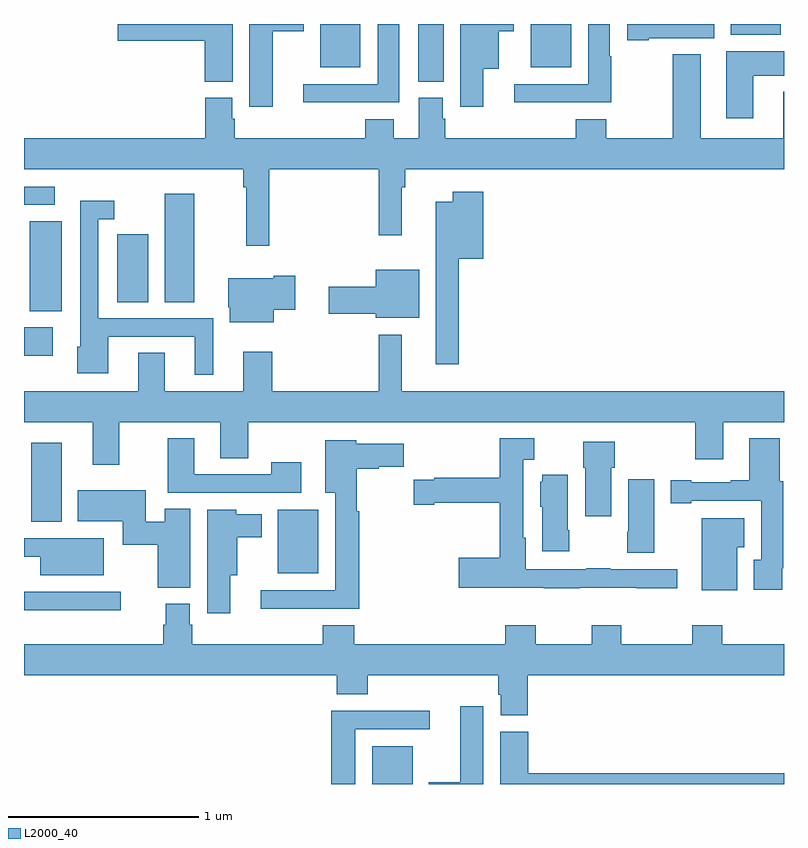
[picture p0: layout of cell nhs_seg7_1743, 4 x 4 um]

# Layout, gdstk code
import gdstk
lib = gdstk.Library(unit=1e-6, precision=1e-09)
def R(c, l, rs):  # rectangles x0, y0, x1, y1
    for r in rs: c.add(gdstk.rectangle(r[:2], r[2:], *l))
def P(c, l, *ps):  # polygons
    for p in ps: c.add(gdstk.Polygon(p, *l))
L2000_40 = (2000, 40)

nhs_seg7_1743 = lib.new_cell('nhs_seg7_1743')
R(nhs_seg7_1743, L2000_40, [(230.834,1044,231.046,1044.199), (229,1044.914,229.51,1045.011), (230.336,1045.109,230.548,1045.444), (229.037,1045.379,229.198,1045.795), (229,1046.255,229.15,1046.404), (229.031,1046.489,229.198,1046.963), (229.49,1046.536,229.654,1046.893), (229.742,1046.536,229.897,1047.106), (229,1047.048,229.162,1047.144), (231.074,1047.697,231.208,1048), (230.558,1047.773,230.77,1048), (231.668,1047.773,231.88,1048), (232.721,1047.944,232.984,1048)])
P(nhs_seg7_1743, L2000_40, [(230.974,1048),(230.861,1048),(230.861,1047.684),(230.469,1047.684),(230.469,1047.587),(230.974,1047.587)],
  [(231.418,1047.764),(231.499,1047.764),(231.499,1047.962),(231.577,1047.962),(231.577,1048),(231.296,1048),(231.296,1047.564),(231.418,1047.564)],
  [(232.288,1047.926),(232.633,1047.926),(232.633,1048),(232.176,1048),(232.176,1047.914),(232.288,1047.914)],
  [(232.092,1047.83),(232.084,1047.83),(232.084,1048),(231.971,1048),(231.971,1047.684),(231.579,1047.684),(231.579,1047.587),(232.092,1047.587)],
  [(230.098,1048),(229.494,1048),(229.494,1047.911),(229.952,1047.911),(229.952,1047.697),(230.098,1047.697)],
  [(230.308,1047.962),(230.473,1047.962),(230.473,1048),(230.186,1048),(230.186,1047.564),(230.308,1047.564)],
  [(232.837,1047.728),(233,1047.728),(233,1047.856),(232.697,1047.856),(232.697,1047.504),(232.837,1047.504)],
  [(230.291,1047.236),(230.868,1047.236),(230.868,1046.889),(230.989,1046.889),(230.989,1047.14),(231.007,1047.14),(231.007,1047.236),(233,1047.236),(233,1047.643),(232.997,1047.643),(232.997,1047.4),(232.561,1047.4),(232.561,1047.841),(232.414,1047.841),(232.414,1047.4),(232.065,1047.4),(232.065,1047.499),(231.905,1047.499),(231.905,1047.4),(231.218,1047.4),(231.218,1047.501),(231.205,1047.501),(231.205,1047.612),(231.077,1047.612),(231.077,1047.4),(230.947,1047.4),(230.947,1047.499),(230.795,1047.499),(230.795,1047.4),(230.108,1047.4),(230.108,1047.501),(230.095,1047.501),(230.095,1047.612),(229.955,1047.612),(229.955,1047.4),(229,1047.4),(229,1047.236),(230.155,1047.236),(230.155,1047.14),(230.17,1047.14),(230.17,1046.832),(230.291,1046.832)],
  [(231.289,1046.765),(231.418,1046.765),(231.418,1047.118),(231.257,1047.118),(231.257,1047.064),(231.167,1047.064),(231.167,1046.208),(231.289,1046.208)],
  [(229.996,1046.451),(229.392,1046.451),(229.392,1046.973),(229.474,1046.973),(229.474,1047.07),(229.296,1047.07),(229.296,1046.301),(229.28,1046.301),(229.28,1046.162),(229.444,1046.162),(229.444,1046.355),(229.898,1046.355),(229.898,1046.154),(229.996,1046.154)],
  [(231.079,1046.707),(230.852,1046.707),(230.852,1046.618),(230.604,1046.618),(230.604,1046.476),(230.852,1046.476),(230.852,1046.453),(231.079,1046.453)],
  [(230.314,1046.497),(230.428,1046.497),(230.428,1046.675),(230.315,1046.675),(230.315,1046.662),(230.075,1046.662),(230.075,1046.508),(230.084,1046.508),(230.084,1046.429),(230.314,1046.429)],
  [(229.501,1045.904),(230.033,1045.904),(230.033,1045.714),(230.181,1045.714),(230.181,1045.904),(232.534,1045.904),(232.534,1045.71),(232.681,1045.71),(232.681,1045.904),(233,1045.904),(233,1046.068),(230.989,1046.068),(230.989,1046.365),(230.868,1046.365),(230.868,1046.068),(230.306,1046.068),(230.306,1046.275),(230.153,1046.275),(230.153,1046.068),(229.741,1046.068),(229.741,1046.27),(229.601,1046.27),(229.601,1046.068),(229,1046.068),(229,1045.904),(229.361,1045.904),(229.361,1045.68),(229.501,1045.68)],
  [(231.925,1045.034),(232.225,1045.034),(232.225,1045.03),(232.438,1045.03),(232.438,1045.131),(232.085,1045.131),(232.085,1045.136),(231.958,1045.136),(231.958,1045.131),(231.64,1045.131),(231.64,1045.296),(231.628,1045.296),(231.628,1045.706),(231.685,1045.706),(231.685,1045.819),(231.503,1045.819),(231.503,1045.611),(231.16,1045.611),(231.16,1045.602),(231.05,1045.602),(231.05,1045.469),(231.16,1045.469),(231.16,1045.481),(231.503,1045.481),(231.503,1045.192),(231.288,1045.192),(231.288,1045.034),(231.736,1045.034),(231.736,1045.03),(231.925,1045.03)],
  [(230.458,1045.693),(230.302,1045.693),(230.302,1045.629),(229.897,1045.629),(229.897,1045.819),(229.757,1045.819),(229.757,1045.533),(230.458,1045.533)],
  [(232.99,1045.135),(232.997,1045.135),(232.997,1045.594),(232.978,1045.594),(232.978,1045.819),(232.817,1045.819),(232.817,1045.6),(232.721,1045.6),(232.721,1045.587),(232.513,1045.587),(232.513,1045.6),(232.403,1045.6),(232.403,1045.478),(232.513,1045.478),(232.513,1045.491),(232.881,1045.491),(232.881,1045.179),(232.841,1045.179),(232.841,1045.023),(232.99,1045.023)],
  [(230.765,1045.436),(230.752,1045.436),(230.752,1045.658),(230.868,1045.658),(230.868,1045.669),(230.998,1045.669),(230.998,1045.792),(230.748,1045.792),(230.748,1045.81),(230.585,1045.81),(230.585,1045.532),(230.639,1045.532),(230.639,1045.02),(230.247,1045.02),(230.247,1044.923),(230.765,1044.923)],
  [(232.09,1045.665),(232.11,1045.665),(232.11,1045.801),(231.944,1045.801),(231.944,1045.665),(231.953,1045.665),(231.953,1045.41),(232.09,1045.41)],
  [(231.87,1045.336),(231.862,1045.336),(231.862,1045.627),(231.728,1045.627),(231.728,1045.59),(231.716,1045.59),(231.716,1045.458),(231.728,1045.458),(231.728,1045.224),(231.87,1045.224)],
  [(232.318,1045.603),(232.181,1045.603),(232.181,1045.327),(232.174,1045.327),(232.174,1045.216),(232.318,1045.216)],
  [(229.876,1045.448),(229.742,1045.448),(229.742,1045.381),(229.642,1045.381),(229.642,1045.546),(229.283,1045.546),(229.283,1045.382),(229.52,1045.382),(229.52,1045.259),(229.703,1045.259),(229.703,1045.034),(229.876,1045.034)],
  [(230.086,1045.1),(230.122,1045.1),(230.122,1045.298),(230.251,1045.298),(230.251,1045.42),(230.118,1045.42),(230.118,1045.444),(229.964,1045.444),(229.964,1044.9),(230.086,1044.9)],
  [(232.753,1045.247),(232.792,1045.247),(232.792,1045.399),(232.568,1045.399),(232.568,1045.019),(232.753,1045.019)],
  [(229.42,1045.294),(229.194,1045.294),(229.194,1045.293),(229,1045.293),(229,1045.197),(229.085,1045.197),(229.085,1045.1),(229.42,1045.1)],
  [(231.65,1044.572),(233,1044.572),(233,1044.736),(232.676,1044.736),(232.676,1044.835),(232.516,1044.835),(232.516,1044.736),(232.143,1044.736),(232.143,1044.835),(231.988,1044.835),(231.988,1044.736),(231.693,1044.736),(231.693,1044.835),(231.533,1044.835),(231.533,1044.736),(230.738,1044.736),(230.738,1044.835),(230.573,1044.835),(230.573,1044.736),(229.886,1044.736),(229.886,1044.837),(229.873,1044.837),(229.873,1044.949),(229.745,1044.949),(229.745,1044.837),(229.733,1044.837),(229.733,1044.736),(229,1044.736),(229,1044.572),(230.645,1044.572),(230.645,1044.473),(230.81,1044.473),(230.81,1044.572),(231.497,1044.572),(231.497,1044.471),(231.509,1044.471),(231.509,1044.361),(231.65,1044.361)],
  [(231.418,1044.409),(231.296,1044.409),(231.296,1044.01),(231.131,1044.01),(231.131,1044),(231.418,1044)],
  [(230.743,1044.288),(231.136,1044.288),(231.136,1044.386),(230.618,1044.386),(230.618,1044),(230.743,1044)],
  [(233,1044.056),(231.653,1044.056),(231.653,1044.276),(231.506,1044.276),(231.506,1044),(233,1044)])

lib.write_gds('nhs_seg7_1743.gds')
